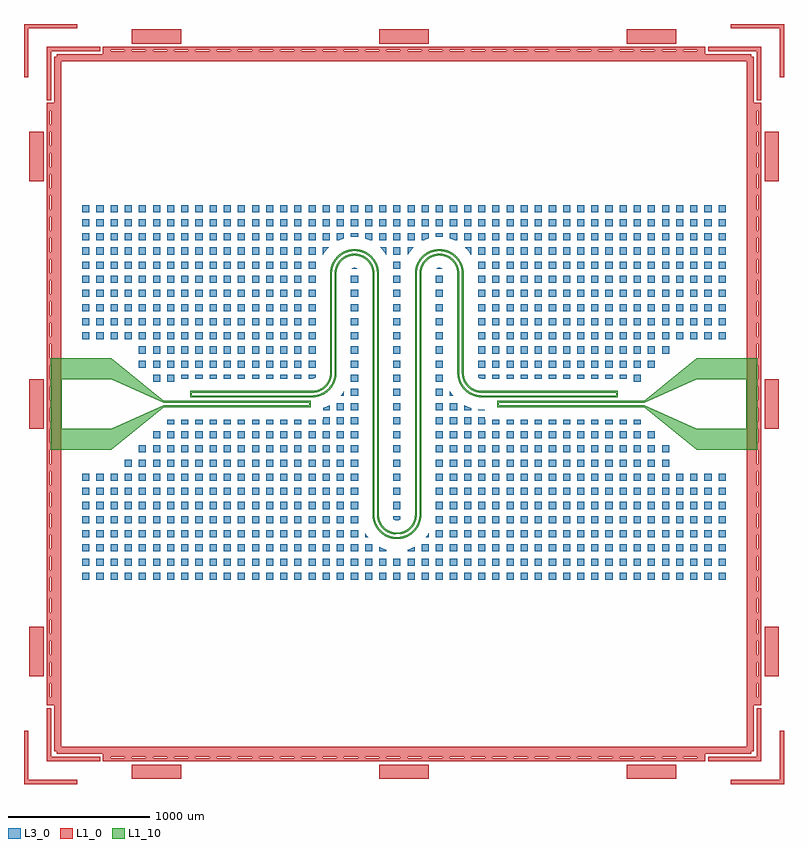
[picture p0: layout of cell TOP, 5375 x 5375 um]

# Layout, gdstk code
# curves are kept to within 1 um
import gdstk
lib = gdstk.Library(unit=1e-6, precision=1e-09)
def R(c, l, rs):  # rectangles x0, y0, x1, y1
    for r in rs: c.add(gdstk.rectangle(r[:2], r[2:], *l))
def A(c, l, x, y, w, h, nx, ny, dx, dy):  # array of equal rectangles
    R(c, l, [(x+i*dx, y+j*dy, x+i*dx+w, y+j*dy+h) for i in range(nx) for j in range(ny)])
def P(c, l, *ps):  # polygons
    for p in ps: c.add(gdstk.Polygon(p, *l))
L1_0 = (1, 0)
L1_10 = (1, 10)
L3_0 = (3, 0)

ground_main_1 = lib.new_cell('ground_main_1')

top_main_1_one_hole = lib.new_cell('TOP_main_1_one_hole')

top_main_1_cheese_diff = lib.new_cell('TOP_main_1_Cheese_diff')

top_main_1_cheese_100 = lib.new_cell('TOP_main_1_Cheese_100')

top_main_1 = lib.new_cell('TOP_main_1')
top_main_1.add(gdstk.Reference(ground_main_1, (0,0)))
top_main_1.add(gdstk.Reference(top_main_1_one_hole, (0,0)))
top_main_1.add(gdstk.Reference(top_main_1_cheese_diff, (0,0)))
top_main_1.add(gdstk.Reference(top_main_1_cheese_100, (0,0)))

top_main_1_nocheese_99 = lib.new_cell('TOP_main_1_NoCheese_99')

top_main = lib.new_cell('TOP_main')
top_main.add(gdstk.Reference(top_main_1, (0,0)))
top_main.add(gdstk.Reference(top_main_1_nocheese_99, (0,0)))

grid = lib.new_cell('grid')

top = lib.new_cell('TOP')
A(top, L1_0, -1924.5, -2650.5, 350, 100, 3, 2, 1750, 5200)
A(top, L1_0, -2649.5, -1925.5, 100, 350, 1, 3, 0, 1750)
A(top, L1_0, 2550.5, -1925.5, 100, 350, 1, 3, 0, 1750)
P(top, L1_0, [(-2130,-2525),(-2130,-2495),(-2075,-2495),(-2075,-2505),(-1975,-2505),(-1975,-2495),(-1925,-2495),(-1925,-2505),(-1825,-2505),(-1825,-2495),(-1775,-2495),(-1775,-2505),(-1675,-2505),(-1675,-2495),(-1625,-2495),(-1625,-2505),(-1525,-2505),(-1525,-2495),(-1475,-2495),(-1475,-2505),(-1375,-2505),(-1375,-2495),(-1325,-2495),(-1325,-2505),(-1225,-2505),(-1225,-2495),(-1175,-2495),(-1175,-2505),(-1075,-2505),(-1075,-2495),(-1025,-2495),(-1025,-2505),(-925,-2505),(-925,-2495),(-875,-2495),(-875,-2505),(-775,-2505),(-775,-2495),(-725,-2495),(-725,-2505),(-625,-2505),(-625,-2495),(-575,-2495),(-575,-2505),(-475,-2505),(-475,-2495),(-425,-2495),(-425,-2505),(-325,-2505),(-325,-2495),(-275,-2495),(-275,-2505),(-175,-2505),(-175,-2495),(-125,-2495),(-125,-2505),(-25,-2505),(-25,-2495),(25,-2495),(25,-2505),(125,-2505),(125,-2495),(175,-2495),(175,-2505),(275,-2505),(275,-2495),(325,-2495),(325,-2505),(425,-2505),(425,-2495),(475,-2495),(475,-2505),(575,-2505),(575,-2495),(625,-2495),(625,-2505),(725,-2505),(725,-2495),(775,-2495),(775,-2505),(875,-2505),(875,-2495),(925,-2495),(925,-2505),(1025,-2505),(1025,-2495),(1075,-2495),(1075,-2505),(1175,-2505),(1175,-2495),(1225,-2495),(1225,-2505),(1325,-2505),(1325,-2495),(1375,-2495),(1375,-2505),(1475,-2505),(1475,-2495),(1525,-2495),(1525,-2505),(1625,-2505),(1625,-2495),(1675,-2495),(1675,-2505),(1775,-2505),(1775,-2495),(1825,-2495),(1825,-2505),(1925,-2505),(1925,-2495),(1975,-2495),(1975,-2505),(2075,-2505),(2075,-2495),(-2130,-2495),(-2130,-2475),(-2455,-2475),(-2455,-2455),(-2475,-2455),(-2475,-2130),(-2525,-2130),(-2525,-1975),(-2505,-1975),(-2505,-2075),(-2495,-2075),(-2495,-1975),(-2525,-1975),(-2525,-1825),(-2505,-1825),(-2505,-1925),(-2495,-1925),(-2495,-1825),(-2525,-1825),(-2525,-1675),(-2505,-1675),(-2505,-1775),(-2495,-1775),(-2495,-1675),(-2525,-1675),(-2525,-1525),(-2505,-1525),(-2505,-1625),(-2495,-1625),(-2495,-1525),(-2525,-1525),(-2525,-1375),(-2505,-1375),(-2505,-1475),(-2495,-1475),(-2495,-1375),(-2525,-1375),(-2525,-1225),(-2505,-1225),(-2505,-1325),(-2495,-1325),(-2495,-1225),(-2525,-1225),(-2525,-1075),(-2505,-1075),(-2505,-1175),(-2495,-1175),(-2495,-1075),(-2525,-1075),(-2525,-925),(-2505,-925),(-2505,-1025),(-2495,-1025),(-2495,-925),(-2525,-925),(-2525,-775),(-2505,-775),(-2505,-875),(-2495,-875),(-2495,-775),(-2525,-775),(-2525,-625),(-2505,-625),(-2505,-725),(-2495,-725),(-2495,-625),(-2525,-625),(-2525,-475),(-2505,-475),(-2505,-575),(-2495,-575),(-2495,-475),(-2525,-475),(-2525,-325),(-2505,-325),(-2505,-425),(-2495,-425),(-2495,-325),(-2525,-325),(-2525,-175),(-2505,-175),(-2505,-275),(-2495,-275),(-2495,-175),(-2525,-175),(-2525,-25),(-2505,-25),(-2505,-125),(-2495,-125),(-2495,-25),(-2525,-25),(-2525,125),(-2505,125),(-2505,25),(-2495,25),(-2495,125),(-2525,125),(-2525,275),(-2505,275),(-2505,175),(-2495,175),(-2495,275),(-2525,275),(-2525,425),(-2505,425),(-2505,325),(-2495,325),(-2495,425),(-2525,425),(-2525,575),(-2505,575),(-2505,475),(-2495,475),(-2495,575),(-2525,575),(-2525,725),(-2505,725),(-2505,625),(-2495,625),(-2495,725),(-2525,725),(-2525,875),(-2505,875),(-2505,775),(-2495,775),(-2495,875),(-2525,875),(-2525,1025),(-2505,1025),(-2505,925),(-2495,925),(-2495,1025),(-2525,1025),(-2525,1175),(-2505,1175),(-2505,1075),(-2495,1075),(-2495,1175),(-2525,1175),(-2525,1325),(-2505,1325),(-2505,1225),(-2495,1225),(-2495,1325),(-2525,1325),(-2525,1475),(-2505,1475),(-2505,1375),(-2495,1375),(-2495,1475),(-2525,1475),(-2525,1625),(-2505,1625),(-2505,1525),(-2495,1525),(-2495,1625),(-2525,1625),(-2525,1775),(-2505,1775),(-2505,1675),(-2495,1675),(-2495,1775),(-2525,1775),(-2525,1925),(-2505,1925),(-2505,1825),(-2495,1825),(-2495,1925),(-2525,1925),(-2525,2075),(-2505,2075),(-2505,1975),(-2495,1975),(-2495,2075),(-2525,2075),(-2525,2130),(-2475,2130),(-2475,2425),(-2425,2425),(-2425,-2425),(2425,-2425),(2425,-1975),(2495,-1975),(2495,-2075),(2505,-2075),(2505,-1975),(2425,-1975),(2425,-1825),(2495,-1825),(2495,-1925),(2505,-1925),(2505,-1825),(2425,-1825),(2425,-1675),(2495,-1675),(2495,-1775),(2505,-1775),(2505,-1675),(2425,-1675),(2425,-1525),(2495,-1525),(2495,-1625),(2505,-1625),(2505,-1525),(2425,-1525),(2425,-1375),(2495,-1375),(2495,-1475),(2505,-1475),(2505,-1375),(2425,-1375),(2425,-1225),(2495,-1225),(2495,-1325),(2505,-1325),(2505,-1225),(2425,-1225),(2425,-1075),(2495,-1075),(2495,-1175),(2505,-1175),(2505,-1075),(2425,-1075),(2425,-925),(2495,-925),(2495,-1025),(2505,-1025),(2505,-925),(2425,-925),(2425,-775),(2495,-775),(2495,-875),(2505,-875),(2505,-775),(2425,-775),(2425,-625),(2495,-625),(2495,-725),(2505,-725),(2505,-625),(2425,-625),(2425,-475),(2495,-475),(2495,-575),(2505,-575),(2505,-475),(2425,-475),(2425,-325),(2495,-325),(2495,-425),(2505,-425),(2505,-325),(2425,-325),(2425,-175),(2495,-175),(2495,-275),(2505,-275),(2505,-175),(2425,-175),(2425,-25),(2495,-25),(2495,-125),(2505,-125),(2505,-25),(2425,-25),(2425,125),(2495,125),(2495,25),(2505,25),(2505,125),(2425,125),(2425,275),(2495,275),(2495,175),(2505,175),(2505,275),(2425,275),(2425,425),(2495,425),(2495,325),(2505,325),(2505,425),(2425,425),(2425,575),(2495,575),(2495,475),(2505,475),(2505,575),(2425,575),(2425,725),(2495,725),(2495,625),(2505,625),(2505,725),(2425,725),(2425,875),(2495,875),(2495,775),(2505,775),(2505,875),(2425,875),(2425,1025),(2495,1025),(2495,925),(2505,925),(2505,1025),(2425,1025),(2425,1175),(2495,1175),(2495,1075),(2505,1075),(2505,1175),(2425,1175),(2425,1325),(2495,1325),(2495,1225),(2505,1225),(2505,1325),(2425,1325),(2425,1475),(2495,1475),(2495,1375),(2505,1375),(2505,1475),(2425,1475),(2425,1625),(2495,1625),(2495,1525),(2505,1525),(2505,1625),(2425,1625),(2425,1775),(2495,1775),(2495,1675),(2505,1675),(2505,1775),(2425,1775),(2425,1925),(2495,1925),(2495,1825),(2505,1825),(2505,1925),(2425,1925),(2425,2075),(2495,2075),(2495,1975),(2505,1975),(2505,2075),(2425,2075),(2425,2425),(-2475,2425),(-2475,2455),(-2455,2455),(-2455,2475),(-2130,2475),(-2130,2505),(-2075,2505),(-2075,2495),(-1975,2495),(-1975,2505),(-1925,2505),(-1925,2495),(-1825,2495),(-1825,2505),(-1775,2505),(-1775,2495),(-1675,2495),(-1675,2505),(-1625,2505),(-1625,2495),(-1525,2495),(-1525,2505),(-1475,2505),(-1475,2495),(-1375,2495),(-1375,2505),(-1325,2505),(-1325,2495),(-1225,2495),(-1225,2505),(-1175,2505),(-1175,2495),(-1075,2495),(-1075,2505),(-1025,2505),(-1025,2495),(-925,2495),(-925,2505),(-875,2505),(-875,2495),(-775,2495),(-775,2505),(-725,2505),(-725,2495),(-625,2495),(-625,2505),(-575,2505),(-575,2495),(-475,2495),(-475,2505),(-425,2505),(-425,2495),(-325,2495),(-325,2505),(-275,2505),(-275,2495),(-175,2495),(-175,2505),(-125,2505),(-125,2495),(-25,2495),(-25,2505),(25,2505),(25,2495),(125,2495),(125,2505),(175,2505),(175,2495),(275,2495),(275,2505),(325,2505),(325,2495),(425,2495),(425,2505),(475,2505),(475,2495),(575,2495),(575,2505),(625,2505),(625,2495),(725,2495),(725,2505),(775,2505),(775,2495),(875,2495),(875,2505),(925,2505),(925,2495),(1025,2495),(1025,2505),(1075,2505),(1075,2495),(1175,2495),(1175,2505),(1225,2505),(1225,2495),(1325,2495),(1325,2505),(1375,2505),(1375,2495),(1475,2495),(1475,2505),(1525,2505),(1525,2495),(1625,2495),(1625,2505),(1675,2505),(1675,2495),(1775,2495),(1775,2505),(1825,2505),(1825,2495),(1925,2495),(1925,2505),(1975,2505),(1975,2495),(2075,2495),(2075,2505),(-2130,2505),(-2130,2525),(2130,2525),(2130,2475),(2455,2475),(2455,2455),(2475,2455),(2475,2130),(2525,2130),(2525,-2130),(2475,-2130),(2475,-2455),(2455,-2455),(2455,-2475),(2130,-2475),(2130,-2525)],
  [(2150,-2525),(2150,-2495),(2495,-2495),(2495,-2150),(2525,-2150),(2525,-2525)],
  [(2657.5,2312.5),(2657.5,2657.5),(2312.5,2657.5),(2312.5,2687.5),(2687.5,2687.5),(2687.5,2312.5),(2687.5,2312.5)],
  [(2495,2150),(2495,2495),(2150,2495),(2150,2525),(2525,2525),(2525,2150)],
  [(-2687.5,2312.5),(-2687.5,2312.5),(-2687.5,2687.5),(-2312.5,2687.5),(-2312.5,2657.5),(-2657.5,2657.5),(-2657.5,2312.5)],
  [(-2525,2150),(-2525,2525),(-2150,2525),(-2150,2495),(-2495,2495),(-2495,2150)],
  [(-2687.5,-2687.5),(-2687.5,-2312.5),(-2687.5,-2312.5),(-2657.5,-2312.5),(-2657.5,-2657.5),(-2312.5,-2657.5),(-2312.5,-2687.5)],
  [(-2525,-2525),(-2525,-2150),(-2495,-2150),(-2495,-2495),(-2150,-2495),(-2150,-2525)],
  [(2312.5,-2687.5),(2312.5,-2657.5),(2657.5,-2657.5),(2657.5,-2312.5),(2687.5,-2312.5),(2687.5,-2312.5),(2687.5,-2687.5)])
P(top, L1_10, [(-50,-954.507),(-83.102,-951.292),(-111.524,-943.127),(-138.128,-930.215),(-164.907,-910.493),(-185.132,-888.919),(-203.085,-860.923),(-214.254,-833.542),(-221.005,-800.977),(-222.04,925.699),(-226.784,957.175),(-237.588,983.724),(-256.169,1009.57),(-277.895,1028.266),(-306.221,1042.788),(-334.084,1049.514),(-365.916,1049.514),(-393.779,1042.788),(-419.446,1030.031),(-443.831,1009.57),(-462.412,983.724),(-473.216,957.175),(-477.007,938.423),(-478,922.507),(-478.637,205.214),(-485.746,168.965),(-498.638,138.308),(-519.571,107.873),(-543.589,84.868),(-568.308,68.638),(-591.946,58.093),(-616.898,51.215),(-642.6,48.159),(-1512,48),(-1512,92),(-646.809,92.04),(-624.637,94.538),(-603.236,100.848),(-583.256,110.779),(-562.938,126.169),(-546.072,145.281),(-533.327,167.355),(-525.209,191.517),(-522.159,213.62),(-522,922.507),(-518.785,955.609),(-511.907,980.561),(-501.362,1004.199),(-487.39,1025.987),(-470.307,1045.431),(-447.473,1064.222),(-425.104,1077.244),(-401.035,1086.762),(-375.81,1092.56),(-342.6,1094.348),(-309.667,1089.712),(-278.243,1078.824),(-249.501,1062.092),(-224.516,1040.142),(-204.223,1013.793),(-188.093,980.561),(-179.947,948.317),(-178,922.507),(-177.642,-792.073),(-173.216,-817.175),(-165.324,-838.045),(-153.928,-857.227),(-137.062,-876.338),(-116.744,-891.729),(-96.764,-901.659),(-75.363,-907.969),(-53.191,-910.468),(-27.773,-908.563),(-6.221,-902.788),(16.744,-891.729),(37.062,-876.338),(53.928,-857.227),(65.324,-838.045),(73.216,-817.175),(77.642,-792.073),(78,922.507),(79.947,948.317),(88.093,980.561),(100.431,1007.437),(119.571,1034.634),(143.589,1057.639),(165.071,1072.077),(186.908,1082.507),(250,1082.507),(221.431,1079.936),(193.78,1072.305),(167.936,1059.859),(144.73,1042.999),(122.7,1019.434),(107.439,995.146),(96.76,968.523),(91.006,940.422),(89.96,-785.839),(86.801,-812.267),(77.348,-840.666),(64.041,-863.715),(44.172,-886.101),(31.208,-896.548),(14.152,-906.944),(-4.21,-914.808),(-20.241,-919.308),(-40.013,-922.151),(-59.987,-922.151),(-79.759,-919.308),(-95.79,-914.808),(-114.152,-906.944),(-131.208,-896.548),(-144.172,-886.101),(-157.957,-871.644),(-169.543,-855.373),(-177.348,-840.666),(-184.329,-821.95),(-188.062,-805.724),(-190,-782.507),(-190.161,929.686),(-192.571,951.077),(-196.76,968.523),(-204.324,988.677),(-212.648,1004.571),(-222.7,1019.434),(-236.863,1035.644),(-253.074,1049.807),(-267.936,1059.859),(-287.116,1069.632),(-303.984,1075.748),(-321.431,1079.936),(-339.237,1082.145),(-357.178,1082.346),(-375.03,1080.538),(-392.566,1076.741),(-409.567,1071.006),(-425.819,1063.403),(-441.118,1054.028),(-455.27,1042.999),(-468.099,1030.455),(-479.443,1016.553),(-489.159,1001.469),(-497.124,985.391),(-503.24,968.523),(-508.552,943.985),(-510,922.507),(-510.357,210.013),(-514.77,183.765),(-525.563,155.848),(-542.043,130.863),(-560.863,112.043),(-580,98.756),(-597.967,90.028),(-620.241,83.199),(-643.339,80.159),(-1500,80),(-1500,60),(-642.822,60.161),(-617.906,63.252),(-593.78,70.202),(-571.039,80.841),(-550.242,94.907),(-527.177,117.46),(-509.105,144.181),(-501.502,160.433),(-495.766,177.434),(-490.362,209.237),(-490,922.507),(-488.575,942.431),(-484.329,961.95),(-471.244,992.507),(-451.323,1019.118),(-425.69,1040.283),(-395.79,1054.808),(-363.308,1061.873),(-330.076,1061.082),(-297.967,1052.479),(-268.792,1036.548),(-244.195,1014.188),(-225.563,986.659),(-213.946,955.514),(-210.04,925.839),(-209.638,-793.27),(-207.429,-811.077),(-202.169,-831.95),(-194.155,-851.929),(-185.476,-867.633),(-175.093,-882.266),(-160.57,-898.155),(-144.046,-911.95),(-125.819,-923.403),(-109.567,-931.006),(-89.094,-937.658),(-71.477,-941.059),(-53.59,-942.467),(-35.658,-941.863),(-14.397,-938.496),(2.845,-933.529),(19.421,-926.662),(38.144,-916.039),(52.54,-905.331),(68.099,-890.455),(79.443,-876.553),(89.159,-861.469),(98.498,-842.074),(104.234,-825.073),(108.03,-807.537),(110,-782.507),(110.159,929.169),(115.671,961.95),(128.756,992.507),(148.677,1019.118),(160.863,1030.464),(177.135,1042.051),(207.372,1055.86),(240.013,1062.151),(273.216,1060.569),(302.033,1052.479),(331.208,1036.548),(353.593,1016.68),(371.244,992.507),(384.329,961.95),(388.575,942.431),(390,922.507),(390.644,205.658),(393.252,187.906),(397.831,170.557),(410.841,141.039),(420.557,125.954),(431.901,112.053),(455.954,90.557),(477.362,77.439),(500.557,67.831),(521.431,62.571),(546.41,60.04),(1500,60),(1500,80),(543.339,80.159),(520.241,83.199),(501.075,88.827),(480,98.756),(463.458,109.953),(442.043,130.863),(425.563,155.848),(414.77,183.765),(410.357,210.013),(410,922.507),(408.552,943.985),(404.234,965.073),(392.561,995.146),(375.093,1022.266),(352.54,1045.331),(325.819,1063.403),(299.443,1074.676),(271.477,1081.059),(253.59,1082.467),(186.908,1082.507),(220.538,1091.965),(257.4,1094.348),(290.333,1089.712),(325.104,1077.244),(356.411,1057.639),(380.429,1034.634),(401.362,1004.199),(415.314,969.996),(420.053,948.317),(422,922.507),(422.358,210.435),(426.784,185.332),(437.588,158.783),(451.946,137.723),(472.713,117.967),(488.783,107.588),(506.221,99.719),(524.637,94.538),(546.809,92.04),(1512,92),(1512,48),(546.299,48.04),(524.19,49.947),(498.965,55.746),(474.896,65.263),(452.527,78.285),(424.516,102.366),(402.293,131.872),(393.683,148.243),(385.746,168.965),(378.637,205.214),(378,922.507),(377.007,938.423),(373.216,957.175),(362.412,983.724),(343.831,1009.57),(319.446,1030.031),(293.779,1042.788),(265.916,1049.514),(234.084,1049.514),(206.221,1042.788),(177.895,1028.266),(156.169,1009.57),(137.588,983.724),(126.784,957.175),(122.04,925.699),(121.005,-800.977),(114.254,-833.542),(103.085,-860.923),(85.132,-888.919),(64.907,-910.493),(38.128,-930.215),(11.524,-943.127),(-16.898,-951.292)],
  [(-2500,-325),(-2500,175),(-2420,175),(-2420,-175),(-2070,-175),(-1700,-10),(-670,-10),(-670,10),(-1700,10),(-2070,175),(-2500,175),(-2500,325),(-2070,325),(-1700,22),(-658,22),(-658,-22),(-1700,-22),(-2070,-325)],
  [(2070,-325),(1700,-22),(658,-22),(658,22),(1700,22),(1886.832,175),(2070,175),(1700,10),(670,10),(670,-10),(1700,-10),(2070,-175),(2420,-175),(2420,175),(1886.832,175),(2070,325),(2500,325),(2500,-325)])
A(top, L3_0, -2275, -1243, 50, 50, 46, 2, 100, 100)
A(top, L3_0, -2275, -1043, 50, 50, 21, 1, 100, 0)
A(top, L3_0, 125, -1043, 50, 50, 22, 1, 100, 0)
A(top, L3_0, -2275, -943, 50, 50, 20, 5, 100, 100)
A(top, L3_0, 225, -943, 50, 50, 21, 5, 100, 100)
A(top, L3_0, -75, -743, 50, 50, 1, 6, 0, 100)
A(top, L3_0, -1975, -443, 50, 50, 17, 1, 100, 0)
A(top, L3_0, 225, -443, 50, 50, 17, 2, 100, 100)
A(top, L3_0, -1875, -343, 50, 50, 16, 1, 100, 0)
A(top, L3_0, -1775, -243, 50, 50, 15, 1, 100, 0)
A(top, L3_0, 225, -243, 50, 50, 16, 1, 100, 0)
A(top, L3_0, -1675, -143, 50, 33, 11, 1, 100, 0)
A(top, L3_0, -375, -143, 50, 50, 3, 4, 300, 100)
A(top, L3_0, 625, -143, 50, 33, 11, 1, 100, 0)
A(top, L3_0, -1575, 180, 50, 27, 9, 1, 100, 0)
A(top, L3_0, 625, 180, 50, 27, 10, 1, 100, 0)
A(top, L3_0, -1875, 257, 50, 50, 13, 2, 100, 100)
A(top, L3_0, -375, 257, 50, 50, 4, 7, 300, 100)
A(top, L3_0, 625, 257, 50, 50, 12, 1, 100, 0)
A(top, L3_0, 625, 357, 50, 50, 13, 1, 100, 0)
A(top, L3_0, -2275, 457, 50, 50, 17, 7, 100, 100)
A(top, L3_0, 625, 457, 50, 50, 17, 5, 100, 100)
A(top, L3_0, 525, 957, 50, 50, 18, 2, 100, 100)
A(top, L3_0, -2275, 1157, 50, 50, 18, 1, 100, 0)
A(top, L3_0, -175, 1157, 50, 50, 3, 1, 100, 0)
A(top, L3_0, 425, 1157, 50, 50, 19, 1, 100, 0)
A(top, L3_0, -2275, 1257, 50, 50, 46, 2, 100, 100)
R(top, L3_0, [(-475,-143,-425,-93), (325,-143,375,-93), (425,-143,475,-93), (-475,-43,-425,7), (325,-43,375,7), (-1775,157,-1725,207), (-1675,157,-1625,207), (1625,157,1675,207), (-75,957,-25,1007), (-75,1057,-25,1107)])
P(top, L3_0, [(-447.444,57),(-446.719,57.889),(-443.138,62.484),(-439.652,67.169),(-436.275,71.929),(-433.006,76.762),(-429.844,81.672),(-426.799,86.641),(-425,89.73),(-425,57)],
  [(325,57),(325,89.73),(326.799,86.641),(329.844,81.672),(333.006,76.762),(336.275,71.929),(339.652,67.169),(343.138,62.484),(346.719,57.889),(347.444,57)],
  [(25,1057),(25,1107),(66.803,1107),(46.724,1084.626),(27.494,1057)],
  [(472.506,1057),(453.276,1084.626),(433.197,1107),(475,1107),(475,1057)],
  [(229.764,957),(239.656,961.139),(250,962.5),(260.344,961.139),(270.236,957)],
  [(125,1157),(125,1207),(175,1207),(175,1171.46),(169.652,1169.787),(164.13,1167.925),(158.638,1165.933),(153.203,1163.824),(147.809,1161.59),(142.464,1159.234),(137.691,1157)],
  [(225,1181.295),(225,1207),(275,1207),(275,1181.295),(250,1182.513)],
  [(362.309,1157),(357.536,1159.234),(352.191,1161.59),(346.797,1163.824),(341.362,1165.933),(335.87,1167.925),(330.348,1169.787),(325,1171.46),(325,1207),(375,1207),(375,1157)],
  [(550.617,180),(536.916,182.208),(525,188.787),(525,207),(575,207),(575,180)],
  [(-575,1057),(-575,1107),(-533.197,1107),(-553.276,1084.626),(-572.506,1057)],
  [(-127.494,1057),(-146.724,1084.626),(-166.803,1107),(-125,1107),(-125,1057)],
  [(-475,1157),(-475,1207),(-425,1207),(-425,1171.46),(-430.348,1169.787),(-435.87,1167.925),(-441.362,1165.933),(-446.797,1163.824),(-452.191,1161.59),(-457.536,1159.234),(-462.309,1157)],
  [(-375,1181.295),(-375,1207),(-325,1207),(-325,1181.295),(-350,1182.513)],
  [(-237.691,1157),(-242.464,1159.234),(-247.809,1161.59),(-253.203,1163.824),(-258.638,1165.933),(-264.13,1167.925),(-269.652,1169.787),(-275,1171.46),(-275,1207),(-225,1207),(-225,1157)],
  [(-370.236,957),(-360.344,961.139),(-350,962.5),(-339.656,961.139),(-329.764,957)],
  [(-675,180),(-675,207),(-625,207),(-625,188.787),(-630.829,184.902),(-645.239,180.292)],
  [(-575,-143),(-575,-110),(-570,-110),(-570,-93),(-525,-93),(-525,-143)],
  [(-570,-43),(-570,-27.389),(-547.809,-19.082),(-525,-7.97),(-525,-43)],
  [(-50,-822.5),(-63.082,-820.301),(-75,-813.719),(-75,-793),(-25,-793),(-25,-813.719),(-36.918,-820.301)],
  [(-275,-943),(-275,-912.778),(-273.201,-915.866),(-270.156,-920.837),(-266.99,-925.751),(-263.725,-930.578),(-260.353,-935.331),(-256.867,-940.018),(-254.543,-943)],
  [(-75,-1043),(-75,-1041.295),(-67.49,-1041.925),(-61.663,-1042.252),(-50,-1042.513),(-38.337,-1042.252),(-32.51,-1041.925),(-25,-1041.295),(-25,-1043)],
  [(-175,-1043),(-175,-1010.478),(-152.191,-1021.59),(-125,-1031.46),(-125,-1043)],
  [(525,-143),(525,-93),(570,-93),(570,-110),(575,-110),(575,-143)],
  [(525,-43),(525,-38.788),(526.688,-38.959),(532.51,-39.418),(538.337,-39.745),(544.167,-39.941),(549.443,-40),(570,-40),(570,-43)],
  [(425,-43),(425,-7.97),(447.809,-19.082),(475,-28.951),(475,-43)],
  [(154.543,-943),(156.867,-940.018),(160.353,-935.331),(163.725,-930.578),(166.99,-925.751),(170.156,-920.837),(173.201,-915.866),(175,-912.778),(175,-943)],
  [(25,-1043),(25,-1031.46),(52.191,-1021.59),(75,-1010.478),(75,-1043)])
top.add(gdstk.Reference(top_main, (0,0)))
r = gdstk.Reference(grid, (-2450,-2418)); r.repetition = gdstk.Repetition(50, 50, v1=(100,0), v2=(0,100)); top.add(r)

lib.write_gds('TOP.gds')
